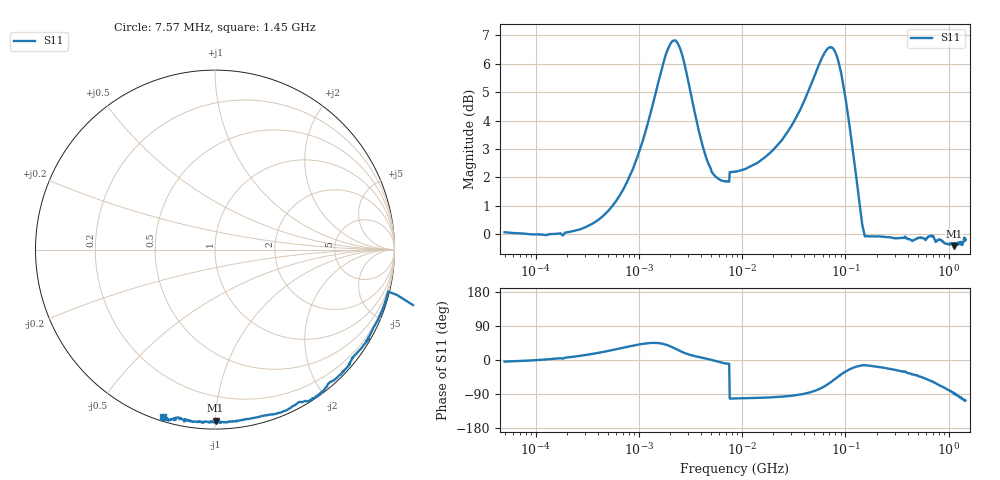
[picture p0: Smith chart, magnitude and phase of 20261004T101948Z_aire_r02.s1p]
! piloto_corto / aire / r02
# HZ S RI R 50
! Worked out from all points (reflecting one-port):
!   501 points, 50 kHz to 1.45 GHz, reference 50 ohm
!   lowest |S11| = -0.4 dB at 1.126 GHz (marker M1), VSWR 41.93, Z = 2.39 - j50.1 ohm
!   phase of S11 starts at -4 deg and turns -103 deg over the sweep
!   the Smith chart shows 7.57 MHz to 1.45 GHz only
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50000  1.006 -0.0746
183000  0.9934 0.0598
658000  1.01 0.598
1180000  1.107 1.064
1720000  1.475 1.347
1990000  1.726 1.287
2440000  1.942 0.9113
2980000  1.806 0.4892
3520000  1.594 0.2798
4960000  1.304 0.0138
7300000  1.221 -0.2118
7750000  -0.2608 -1.26
8560000  -0.2572 -1.264
1.81e7  -0.2142 -1.368
3.16e7  -0.0997 -1.575
4.78e7  0.2085 -1.847
6.67e7  0.8966 -1.918
7.66e7  1.267 -1.695
9.1e7  1.514 -1.176
9.82e7  1.507 -0.9337
1e8  1.498 -0.8798
1.18e8  1.311 -0.4953
1.36e8  1.103 -0.3086
1.63e8  0.9617 -0.2475
4.06e8  0.7986 -0.568
6.85e8  0.5553 -0.8266
1.126e9  0.00304 -0.9534
1.45e9  -0.2888 -0.9335
